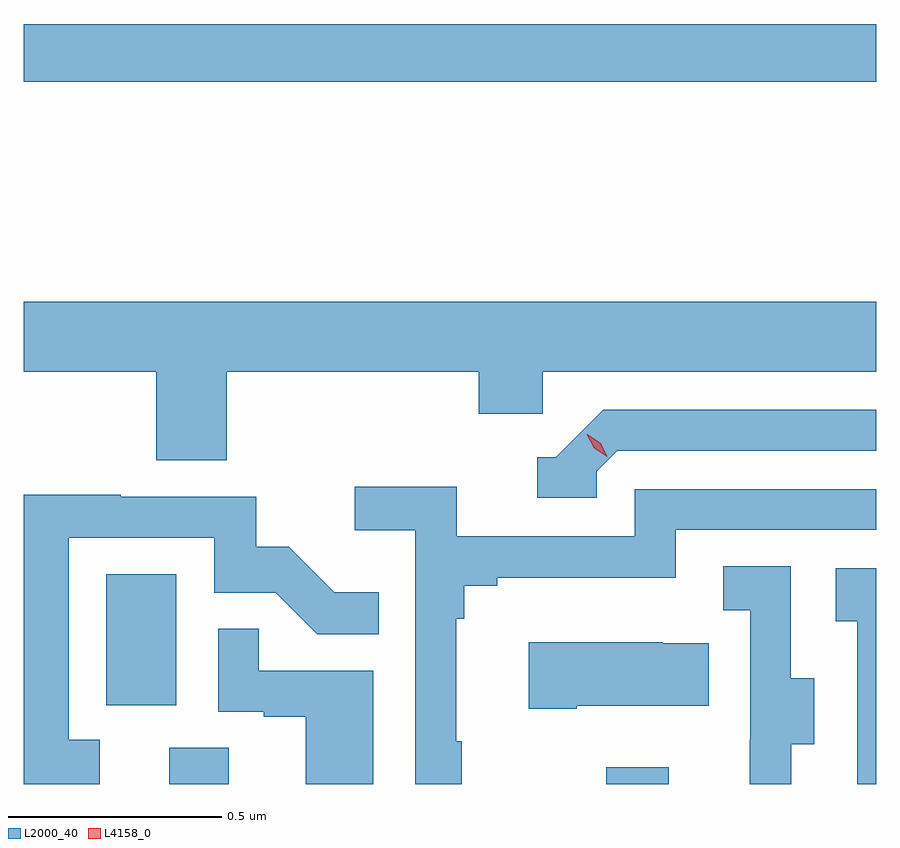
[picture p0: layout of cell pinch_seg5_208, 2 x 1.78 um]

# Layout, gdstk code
import gdstk
lib = gdstk.Library(unit=1e-6, precision=1e-09)
def R(c, l, rs):  # rectangles x0, y0, x1, y1
    for r in rs: c.add(gdstk.rectangle(r[:2], r[2:], *l))
def P(c, l, *ps):  # polygons
    for p in ps: c.add(gdstk.Polygon(p, *l))
L2000_40 = (2000, 40)
L4158_0 = (4158, 0)

pinch_seg5_208 = lib.new_cell('pinch_seg5_208')
R(pinch_seg5_208, L2000_40, [(996.635,905.077,996.775,905.162), (997.66,905.077,997.807,905.116), (996.488,905.262,996.652,905.569), (996.294,906.724,998.294,906.86)])
P(pinch_seg5_208, L2000_40, [(996.77,906.044),(997.361,906.044),(997.361,905.946),(997.512,905.946),(997.512,906.044),(998.294,906.044),(998.294,906.208),(996.294,906.208),(996.294,906.044),(996.605,906.044),(996.605,905.836),(996.77,905.836)],
  [(997.638,905.811),(997.686,905.859),(998.294,905.859),(998.294,905.955),(997.653,905.955),(997.542,905.844),(997.499,905.844),(997.499,905.748),(997.638,905.748)],
  [(997.321,905.177),(997.309,905.177),(997.309,905.465),(997.328,905.465),(997.328,905.542),(997.405,905.542),(997.405,905.561),(997.824,905.561),(997.824,905.673),(998.294,905.673),(998.294,905.769),(997.728,905.769),(997.728,905.658),(997.31,905.658),(997.31,905.774),(997.071,905.774),(997.071,905.672),(997.212,905.672),(997.212,905.077),(997.321,905.077)],
  [(996.472,905.181),(996.399,905.181),(996.399,905.655),(996.741,905.655),(996.741,905.526),(996.885,905.526),(996.983,905.428),(997.127,905.428),(997.127,905.527),(997.023,905.527),(996.916,905.634),(996.84,905.634),(996.84,905.751),(996.521,905.751),(996.521,905.756),(996.294,905.756),(996.294,905.077),(996.472,905.077)],
  [(998.095,905.17),(998.149,905.17),(998.149,905.325),(998.094,905.325),(998.094,905.588),(997.935,905.588),(997.935,905.485),(997.998,905.485),(997.998,905.181),(997.997,905.181),(997.997,905.077),(998.095,905.077)],
  [(998.294,905.583),(998.199,905.583),(998.199,905.459),(998.25,905.459),(998.25,905.077),(998.294,905.077)],
  [(997.114,905.343),(996.845,905.343),(996.845,905.441),(996.75,905.441),(996.75,905.247),(996.857,905.247),(996.857,905.235),(996.956,905.235),(996.956,905.077),(997.114,905.077)],
  [(997.591,905.261),(997.901,905.261),(997.901,905.407),(997.793,905.407),(997.793,905.41),(997.479,905.41),(997.479,905.254),(997.591,905.254)])
P(pinch_seg5_208, L4158_0, [(997.663,905.845),(997.632,905.865),(997.615,905.898),(997.615,905.898),(997.616,905.898),(997.647,905.878),(997.663,905.846),(997.663,905.845)])

lib.write_gds('pinch_seg5_208.gds')
